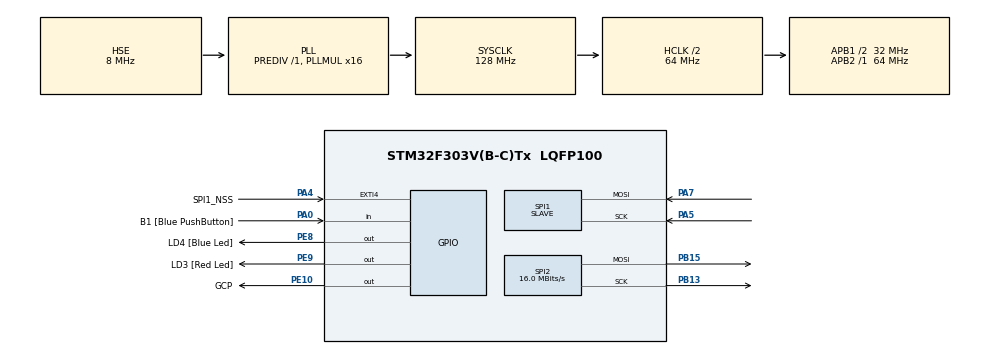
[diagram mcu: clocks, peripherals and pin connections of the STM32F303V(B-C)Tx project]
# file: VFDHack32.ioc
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Dma.Request0=SPI2_TX
Dma.Request1=SPI1_RX
Dma.SPI1_RX.1.Direction=DMA_PERIPH_TO_MEMORY
Dma.SPI1_RX.1.Instance=DMA1_Channel2
Dma.SPI1_RX.1.MemDataAlignment=DMA_MDATAALIGN_BYTE
Dma.SPI1_RX.1.MemInc=DMA_MINC_ENABLE
Dma.SPI1_RX.1.Mode=DMA_NORMAL
Dma.SPI1_RX.1.PeriphDataAlignment=DMA_PDATAALIGN_BYTE
Dma.SPI1_RX.1.PeriphInc=DMA_PINC_DISABLE
Dma.SPI1_RX.1.Priority=DMA_PRIORITY_MEDIUM
Dma.SPI2_TX.0.Direction=DMA_MEMORY_TO_PERIPH
Dma.SPI2_TX.0.Instance=DMA1_Channel5
Dma.SPI2_TX.0.MemDataAlignment=DMA_MDATAALIGN_BYTE
Dma.SPI2_TX.0.MemInc=DMA_MINC_ENABLE
Dma.SPI2_TX.0.Mode=DMA_NORMAL
Dma.SPI2_TX.0.PeriphDataAlignment=DMA_PDATAALIGN_BYTE
Dma.SPI2_TX.0.PeriphInc=DMA_PINC_DISABLE
Dma.SPI2_TX.0.Priority=DMA_PRIORITY_MEDIUM
Mcu.Family=STM32F3
Mcu.Name=STM32F303V(B-C)Tx
Mcu.Package=LQFP100
NVIC.DMA1_Channel2_IRQn=true\:0\:0\:false\:false\:true\:false\:true
NVIC.DMA1_Channel5_IRQn=true\:0\:0\:false\:false\:true\:false\:true
NVIC.EXTI4_IRQn=true\:0\:0\:false\:false\:true\:true\:true
NVIC.PriorityGroup=NVIC_PRIORITYGROUP_4
NVIC.SPI1_IRQn=true\:0\:0\:false\:false\:true\:true\:true
PA0.GPIO_Label=B1 [Blue PushButton]
PA0.GPIO_Mode=GPIO_MODE_INPUT
PA0.GPIO_PuPd=GPIO_NOPULL
PA0.Signal=GPIO_Input
PA11.GPIO_Label=DM
PA11.Signal=USB_DM
PA12.GPIO_Label=DP
PA12.Signal=USB_DP
PA13.GPIO_Label=SWDIO
PA13.Signal=SYS_JTMS-SWDIO
PA14.GPIO_Label=SWCLK
PA14.Signal=SYS_JTCK-SWCLK
PA4.GPIO_Label=SPI1_NSS
PA4.GPIO_ModeDefaultEXTI=GPIO_MODE_IT_FALLING
PA4.GPIO_PuPd=GPIO_PULLUP
PA4.Signal=GPXTI4
PA5.Mode=RX_Only_Simplex_Unidirect_Slave
PA5.Signal=SPI1_SCK
PA7.Mode=RX_Only_Simplex_Unidirect_Slave
PA7.Signal=SPI1_MOSI
PB13.Mode=TX_Only_Simplex_Unidirect_Master
PB13.Signal=SPI2_SCK
PB15.Mode=TX_Only_Simplex_Unidirect_Master
PB15.Signal=SPI2_MOSI
PB3.GPIO_Label=SWO
PB3.Signal=SYS_JTDO-TRACESWO
PC14-OSC32_IN.GPIO_Label=OSC32_IN
PC14-OSC32_IN.Signal=RCC_OSC32_IN
PC15-OSC32_OUT.GPIO_Label=OSC32_OUT
PC15-OSC32_OUT.Signal=RCC_OSC32_OUT
PC4.Signal=USART1_TX
PC5.Signal=USART1_RX
PE10.GPIO_Label=GCP
PE10.GPIO_Speed=GPIO_SPEED_FREQ_HIGH
PE10.Signal=GPIO_Output
PE8.GPIO_Label=LD4 [Blue Led]
PE8.GPIO_ModeDefaultOutputPP=GPIO_MODE_OUTPUT_PP
PE8.GPIO_PuPd=GPIO_NOPULL
PE8.GPIO_Speed=GPIO_SPEED_FREQ_LOW
PE8.Signal=GPIO_Output
PE9.GPIO_Label=LD3 [Red Led]
PE9.GPIO_ModeDefaultOutputPP=GPIO_MODE_OUTPUT_PP
PE9.GPIO_PuPd=GPIO_NOPULL
PE9.GPIO_Speed=GPIO_SPEED_FREQ_LOW
PE9.Signal=GPIO_Output
PF0-OSC_IN.GPIO_Label=OSC_IN
PF0-OSC_IN.Mode=HSE-External-Clock-Source
PF0-OSC_IN.Signal=RCC_OSC_IN
PF1-OSC_OUT.GPIO_Label=OSC_OUT
PF1-OSC_OUT.Signal=RCC_OSC_OUT
ProjectManager.HeapSize=0x200
ProjectManager.StackSize=0x400
ProjectManager.TargetToolchain=STM32CubeIDE
RCC.AHBCLKDivider=RCC_SYSCLK_DIV2
RCC.AHBFreq_Value=64000000
RCC.APB1CLKDivider=RCC_HCLK_DIV2
RCC.APB1Freq_Value=32000000
RCC.APB1TimFreq_Value=64000000
RCC.APB2Freq_Value=64000000
RCC.APB2TimFreq_Value=64000000
RCC.CortexFreq_Value=64000000
RCC.HCLKFreq_Value=64000000
RCC.HSE_VALUE=8000000
RCC.HSI_VALUE=8000000
RCC.LSE_VALUE=32768
RCC.PLLMUL=RCC_PLL_MUL16
RCC.PLLSourceVirtual=RCC_PLLSOURCE_HSE
RCC.SYSCLKFreq_VALUE=128000000
RCC.SYSCLKSourceVirtual=RCC_SYSCLKSOURCE_PLLCLK
RCC.USBFreq_Value=128000000
SPI1.DataSize=SPI_DATASIZE_8BIT
SPI1.Direction=SPI_DIRECTION_2LINES_RXONLY
SPI1.Mode=SPI_MODE_SLAVE
SPI1.VirtualType=VM_SLAVE
SPI2.BaudRatePrescaler=SPI_BAUDRATEPRESCALER_2
SPI2.CLKPhase=SPI_PHASE_2EDGE
SPI2.CLKPolarity=SPI_POLARITY_HIGH
SPI2.CalculateBaudRate=16.0 MBits/s
SPI2.DataSize=SPI_DATASIZE_8BIT
SPI2.Direction=SPI_DIRECTION_2LINES
SPI2.FirstBit=SPI_FIRSTBIT_LSB
SPI2.Mode=SPI_MODE_MASTER
SPI2.VirtualType=VM_MASTER
TIM17.Period=65535 - 1
TIM17.Prescaler=72 -1 
VP_TIM17_VS_ClockSourceINT.Mode=Enable_Timer
board=STM32F3DISCOVERY

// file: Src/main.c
/* USER CODE BEGIN Header */
/**
  ******************************************************************************
  * @file           : main.c
  * @brief          : Main program body
  ******************************************************************************
  * @attention
  *
  * <h2><center>&copy; Copyright (c) 2020 STMicroelectronics.
  * All rights reserved.</center></h2>
  *
  * This software component is licensed by ST under BSD 3-Clause license,
  * the "License"; You may not use this file except in compliance with the
  * License. You may obtain a copy of the License at:
  *                        opensource.org/licenses/BSD-3-Clause
  *
  ******************************************************************************
  */
/* USER CODE END Header */
#include "main.h"
#include "dma.h"
#include "spi.h"
#include "tim.h"
#include "gpio.h"

/* USER CODE BEGIN Includes */
#include <MN15439A.h>
#include <string.h>
#include <stdint.h>
#include <stdio.h>
#include <stdlib.h>
#include <stdbool.h>

#include "BMP.h"
/* USER CODE END Includes */

/* USER CODE BEGIN PTD */
MN15439A VFDDisp;
/* USER CODE END PTD */

/* USER CODE BEGIN PM */

// Grid number counter
uint8_t GridNum = 1;

// Pin connection
// PB15 	MOSI
// PB13 	SCLK
// PE9 		LATCH
// PE8 		BLANK

/* USER CODE END PM */

void SystemClock_Config(void);

/* USER CODE BEGIN 0 */
// microsecond delay

/* USER CODE END 0 */

int main(void)
{

  /* MCU Configuration--------------------------------------------------------*/

  /* Reset of all peripherals, Initializes the Flash interface and the Systick. */
  HAL_Init();

  /* Configure the system clock */
  SystemClock_Config();

  /* Initialize all configured peripherals */
  MX_GPIO_Init();
  MX_DMA_Init();
  MX_SPI2_Init();
  MX_SPI1_Init();
  MX_TIM17_Init();
  /* USER CODE BEGIN 2 */
  //TODO: Note, every compilation needs to move MX_DMAInit(); to be before SPI init!
  //start the Timer17 for uSec delay
  HAL_TIM_Base_Start(&htim17);

  // VFD init
  VFDsetup(&VFDDisp, &hspi2, GPIOE, LD4_Pin, LD3_Pin, GCP_Pin);
  VFDPrint(" !""#$%&'()*+,-./0123456789:;<=>?@ABCDEFGHIJKLMNOPQRSTUVWXYZ[\\]^_`abcdefghijklmnopqrstuvwxyz{|}~");

  /* USER CODE END 2 */

  /* Infinite loop */
  while (1)
  {

    /* USER CODE BEGIN 3 */
	//HAL_Delay(10);
	VFDLoadBMP(&VFDDisp, GridNum++);
	  if(GridNum > 52)
		  GridNum = 1;
  }
  /* USER CODE END 3 */
}

void SystemClock_Config(void)
{
  RCC_OscInitTypeDef RCC_OscInitStruct = {0};
  RCC_ClkInitTypeDef RCC_ClkInitStruct = {0};

  /** Initializes the RCC Oscillators according to the specified parameters
  * in the RCC_OscInitTypeDef structure.
  */
  RCC_OscInitStruct.OscillatorType = RCC_OSCILLATORTYPE_HSE;
  RCC_OscInitStruct.HSEState = RCC_HSE_BYPASS;
  RCC_OscInitStruct.HSEPredivValue = RCC_HSE_PREDIV_DIV1;
  RCC_OscInitStruct.HSIState = RCC_HSI_ON;
  RCC_OscInitStruct.PLL.PLLState = RCC_PLL_ON;
  RCC_OscInitStruct.PLL.PLLSource = RCC_PLLSOURCE_HSE;
  RCC_OscInitStruct.PLL.PLLMUL = RCC_PLL_MUL16;
  if (HAL_RCC_OscConfig(&RCC_OscInitStruct) != HAL_OK)
  {
    Error_Handler();
  }
  /** Initializes the CPU, AHB and APB buses clocks
  */
  RCC_ClkInitStruct.ClockType = RCC_CLOCKTYPE_HCLK|RCC_CLOCKTYPE_SYSCLK
                              |RCC_CLOCKTYPE_PCLK1|RCC_CLOCKTYPE_PCLK2;
  RCC_ClkInitStruct.SYSCLKSource = RCC_SYSCLKSOURCE_PLLCLK;
  RCC_ClkInitStruct.AHBCLKDivider = RCC_SYSCLK_DIV2;
  RCC_ClkInitStruct.APB1CLKDivider = RCC_HCLK_DIV2;
  RCC_ClkInitStruct.APB2CLKDivider = RCC_HCLK_DIV1;

  if (HAL_RCC_ClockConfig(&RCC_ClkInitStruct, FLASH_LATENCY_2) != HAL_OK)
  {
    Error_Handler();
  }
}

/* USER CODE BEGIN 4 */
void HAL_GPIO_EXTI_Callback(uint16_t GPIO_Pin){
	if(GPIO_Pin == SPI1_NSS_Pin){
		HAL_SPI_Receive_DMA(&hspi1, FB0, 780);
  }

}

void HAL_SPI_RxCpltCallback(SPI_HandleTypeDef * hspi){
		GridNum = 1;//When received buffer from host, reset the grid number to 1 to re-render entire display.
}

/* USER CODE END 4 */

void Error_Handler(void)
{
}

/************************ (C) COPYRIGHT STMicroelectronics *****END OF FILE****/
